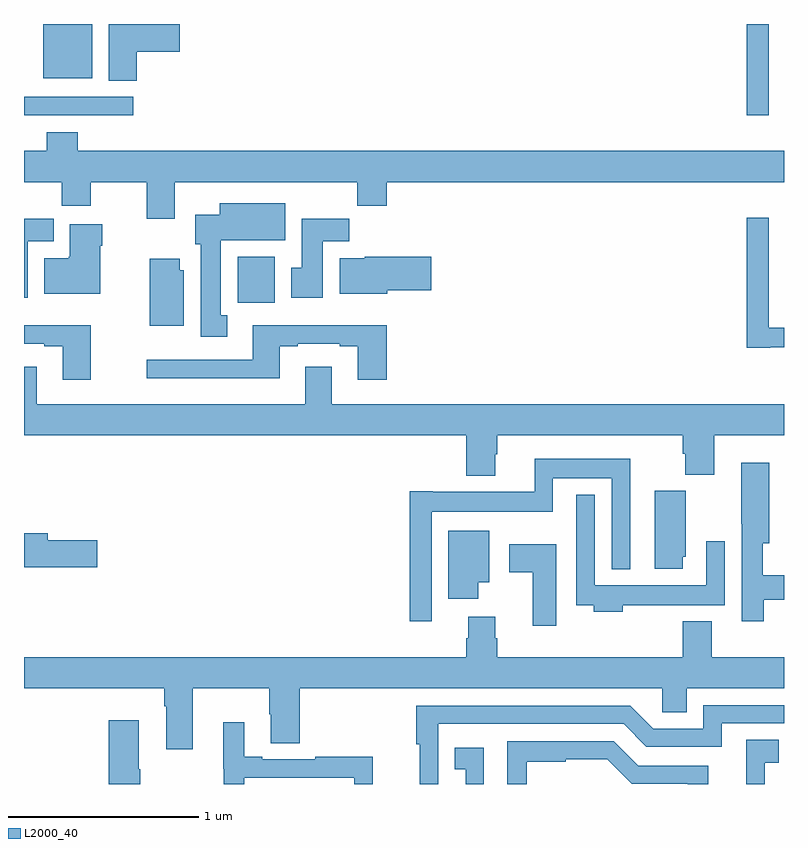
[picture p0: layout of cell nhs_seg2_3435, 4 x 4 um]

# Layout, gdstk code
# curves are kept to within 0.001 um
import gdstk
lib = gdstk.Library(unit=1e-6, precision=1e-09)
def R(c, l, rs):  # rectangles x0, y0, x1, y1
    for r in rs: c.add(gdstk.rectangle(r[:2], r[2:], *l))
def P(c, l, *ps):  # polygons
    for p in ps: c.add(gdstk.Polygon(p, *l))
L2000_40 = (2000, 40)

nhs_seg2_3435 = lib.new_cell('nhs_seg2_3435')
R(nhs_seg2_3435, L2000_40, [(292.124,648.332,292.321,648.574), (291,649.32,291.574,649.416), (294.805,649.32,294.921,649.8), (291.101,649.514,291.358,649.8)])
P(nhs_seg2_3435, L2000_40, [(291.593,649.655),(291.82,649.655),(291.82,649.8),(291.446,649.8),(291.446,649.501),(291.593,649.501)],
  [(291.793,648.968),(292.753,648.968),(292.753,648.844),(292.91,648.844),(292.91,648.968),(295,648.968),(295,649.132),(291.284,649.132),(291.284,649.231),(291.119,649.231),(291.119,649.132),(291,649.132),(291,648.968),(291.199,648.968),(291.199,648.844),(291.351,648.844),(291.351,648.968),(291.646,648.968),(291.646,648.774),(291.793,648.774)],
  [(292.069,648.266),(292.036,648.266),(292.036,648.662),(292.375,648.662),(292.375,648.856),(292.031,648.856),(292.031,648.796),(291.902,648.796),(291.902,648.642),(291.929,648.642),(291.929,648.153),(292.069,648.153)],
  [(294.928,648.098),(295,648.098),(295,648.202),(294.921,648.202),(294.921,648.781),(294.805,648.781),(294.805,648.096),(294.928,648.096)],
  [(291.019,648.656),(291.157,648.656),(291.157,648.774),(291,648.774),(291,648.36),(291.019,648.36)],
  [(292.573,648.656),(292.712,648.656),(292.712,648.774),(292.463,648.774),(292.463,648.516),(292.406,648.516),(292.406,648.36),(292.573,648.36)],
  [(291.4,648.632),(291.413,648.632),(291.413,648.745),(291.242,648.745),(291.242,648.574),(291.236,648.574),(291.236,648.568),(291.107,648.568),(291.107,648.38),(291.4,648.38)],
  [(292.912,648.398),(293.143,648.398),(293.143,648.574),(292.794,648.574),(292.794,648.568),(292.661,648.568),(292.661,648.38),(292.912,648.38)],
  [(291.841,648.504),(291.82,648.504),(291.82,648.565),(291.662,648.565),(291.662,648.212),(291.841,648.212)],
  [(292.91,648.214),(292.205,648.214),(292.205,648.033),(291.645,648.033),(291.645,647.936),(292.345,647.936),(292.345,648.105),(292.441,648.105),(292.441,648.117),(292.661,648.117),(292.661,648.105),(292.757,648.105),(292.757,647.928),(292.91,647.928)],
  [(291.351,648.214),(291,648.214),(291,648.117),(291.107,648.117),(291.107,648.105),(291.203,648.105),(291.203,647.928),(291.351,647.928)],
  [(293.479,647.535),(293.492,647.535),(293.492,647.636),(294.467,647.636),(294.467,647.537),(294.479,647.537),(294.479,647.428),(294.632,647.428),(294.632,647.636),(295,647.636),(295,647.8),(292.621,647.8),(292.621,647.995),(292.481,647.995),(292.481,647.8),(291.067,647.8),(291.067,647.995),(291,647.995),(291,647.636),(293.327,647.636),(293.327,647.423),(293.479,647.423)],
  [(293.145,647.234),(293.784,647.234),(293.784,647.408),(294.093,647.408),(294.093,646.931),(294.19,646.931),(294.19,647.512),(293.687,647.512),(293.687,647.338),(293.152,647.338),(293.152,647.341),(293.029,647.341),(293.029,646.656),(293.145,646.656)],
  [(294.893,646.77),(295,646.77),(295,646.898),(294.889,646.898),(294.889,647.066),(294.923,647.066),(294.923,647.491),(294.776,647.491),(294.776,647.17),(294.777,647.17),(294.777,646.656),(294.893,646.656)],
  [(294.466,646.995),(294.484,646.995),(294.484,647.343),(294.32,647.343),(294.32,646.932),(294.466,646.932)],
  [(294.152,646.74),(294.383,646.74),(294.383,646.742),(294.687,646.742),(294.687,647.077),(294.591,647.077),(294.591,646.846),(294.003,646.846),(294.003,647.323),(293.907,647.323),(293.907,646.74),(293.999,646.74),(293.999,646.706),(294.152,646.706)],
  [(293.392,646.862),(293.449,646.862),(293.449,647.134),(293.234,647.134),(293.234,646.776),(293.392,646.776)],
  [(291.385,647.084),(291.124,647.084),(291.124,647.12),(291,647.12),(291,646.942),(291.385,646.942)],
  [(293.8,647.062),(293.553,647.062),(293.553,646.915),(293.678,646.915),(293.678,646.632),(293.8,646.632)],
  [(293.492,646.566),(293.479,646.566),(293.479,646.681),(293.339,646.681),(293.339,646.566),(293.327,646.566),(293.327,646.468),(291,646.468),(291,646.304),(291.737,646.304),(291.737,646.208),(291.749,646.208),(291.749,645.984),(291.889,645.984),(291.889,646.304),(292.291,646.304),(292.291,646.166),(292.298,646.166),(292.298,646.015),(292.451,646.015),(292.451,646.304),(294.36,646.304),(294.36,646.177),(294.487,646.177),(294.487,646.304),(295,646.304),(295,646.468),(294.619,646.468),(294.619,646.657),(294.467,646.657),(294.467,646.468),(293.492,646.468)],
  [(293.181,646.116),(294.156,646.116),(294.276,645.996),(294.672,645.996),(294.672,646.119),(295,646.119),(295,646.215),(294.576,646.215),(294.576,646.092),(294.312,646.092),(294.192,646.212),(293.065,646.212),(293.065,646.009),(293.083,646.009),(293.083,645.8),(293.181,645.8)],
  [(291.612,645.877),(291.604,645.877),(291.604,646.135),(291.446,646.135),(291.446,645.8),(291.612,645.8)],
  [(292.158,645.834),(292.737,645.834),(292.737,645.8),(292.836,645.8),(292.836,645.943),(292.534,645.943),(292.534,645.93),(292.255,645.93),(292.255,645.943),(292.159,645.943),(292.159,646.126),(292.049,646.126),(292.049,645.881),(292.05,645.881),(292.05,645.8),(292.158,645.8)],
  [(294.899,645.913),(294.973,645.913),(294.973,646.034),(294.802,646.034),(294.802,645.923),(294.8,645.923),(294.8,645.8),(294.899,645.8)],
  [(293.645,645.918),(293.852,645.918),(293.852,645.929),(294.07,645.929),(294.198,645.801),(294.601,645.8),(294.601,645.897),(294.234,645.897),(294.105,646.026),(293.544,646.026),(293.544,645.8),(293.645,645.8)],
  [(293.421,645.991),(293.266,645.991),(293.266,645.878),(293.324,645.878),(293.324,645.8),(293.421,645.8)])

lib.write_gds('nhs_seg2_3435.gds')
